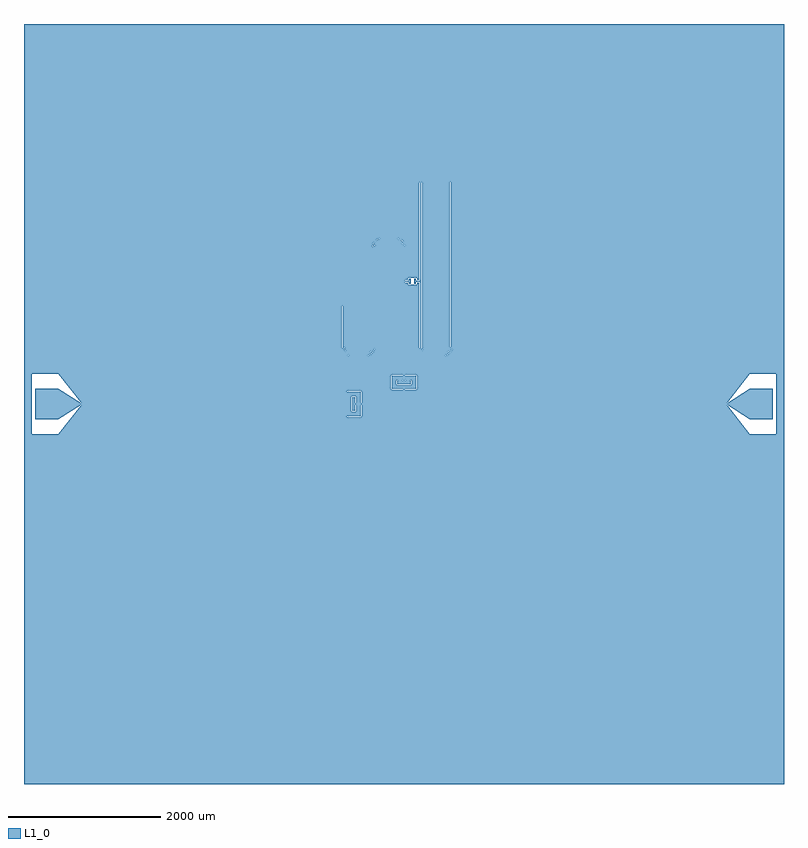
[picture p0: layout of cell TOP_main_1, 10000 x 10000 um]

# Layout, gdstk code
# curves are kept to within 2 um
import gdstk
lib = gdstk.Library(unit=1e-6, precision=1e-09)
def R(c, l, rs):  # rectangles x0, y0, x1, y1
    for r in rs: c.add(gdstk.rectangle(r[:2], r[2:], *l))
def P(c, l, *ps):  # polygons
    for p in ps: c.add(gdstk.Polygon(p, *l))
L1_0 = (1, 0)

ground_main_1 = lib.new_cell('ground_main_1')
P(ground_main_1, L1_0, [(-4550,400),(-4250,17),(-756.5,17),(-756.442,161.176),(-752.113,169.276),(-744.5,172),(-567.5,172),(-559.887,169.276),(-555.5,160),(-555.5,17),(-17,17),(-17,186),(-161.176,186.058),(-169.276,190.387),(-172,198),(-172,375),(-169.276,382.613),(-160,387),(-17,387),(-17,633.992),(-5000,633.992),(-5000,-5000),(5000,-5000),(5000,633.992),(17,633.992),(17,387),(161.176,386.942),(169.276,382.613),(172,375),(171.087,193.408),(166.667,188.022),(160,186),(17,186),(17,17),(4250,17),(4550,400),(4900,400),(4900,-400),(4550,-400),(4250,-17),(-555.5,-17),(-555.558,-161.176),(-559.887,-169.276),(-567.5,-172),(-744.5,-172),(-752.113,-169.276),(-756.5,-160),(-756.5,-17),(-4250,-17),(-4550,-400),(-4900,-400),(-4900,400)],
  [(-719.146,634.428),(-759,648.541),(-776.336,660.793),(-792.051,677.143),(-5000,677.143),(-5000,633.992)],
  [(-496.424,667.04),(-478.607,669.576),(-459.496,677.143),(-740.504,677.143),(-721.393,669.576),(-703.576,667.04)],
  [(-17,677.143),(-407.949,677.143),(-423.664,660.793),(-441,648.541),(-463.154,638.677),(-483.859,633.992),(-17,633.992)],
  [(300.854,634.428),(261,648.541),(243.664,660.793),(227.949,677.143),(17,677.143),(17,633.992)],
  [(523.576,667.04),(541.393,669.576),(560.504,677.143),(279.496,677.143),(298.607,669.576),(316.424,667.04)],
  [(5000,677.143),(612.051,677.143),(596.336,660.793),(579,648.541),(556.846,638.677),(536.141,633.992),(5000,633.992)],
  [(-793.029,678.384),(-808.17,704.609),(-815.572,730.854),(-5000,730.854),(-5000,677.143)],
  [(-457.259,678.419),(-432.661,700.802),(-419.037,730.854),(-780.963,730.854),(-765.793,698.742),(-740.504,677.143)],
  [(-17,730.854),(-384.428,730.854),(-393.029,701.819),(-407.949,677.143),(-17,677.143)],
  [(226.971,678.384),(211.83,704.609),(204.428,730.854),(17,730.854),(17,677.143)],
  [(562.741,678.419),(587.339,700.802),(600.963,730.854),(239.037,730.854),(254.207,698.742),(279.496,677.143)],
  [(5000,730.854),(635.572,730.854),(626.971,701.819),(612.051,677.143),(5000,677.143)],
  [(-418.975,731.112),(-417,2066),(-413.047,2096.023),(-5000,2096.023),(-5000,730.854),(-815.572,730.854),(-817,1290.921),(-783,1290.921),(-780.963,730.854)],
  [(-17,2066),(-22.697,2096.023),(-377.303,2096.023),(-379.744,2088.877),(-383,2066),(-384.428,730.854),(-17,730.854)],
  [(46.5,1661.5),(171.89,1663.462),(173.5,1632),(203,1632),(203,2096.023),(13.047,2096.023),(17,2066),(17,1632),(46.5,1632)],
  [(601.025,731.112),(603,2096.023),(237,2096.023),(237,749),(239.037,730.854)],
  [(5000,2096.023),(637,2096.023),(637,749),(636.96,745.963),(636.841,742.929),(636.642,739.899),(636.365,736.875),(636.008,733.859),(635.572,730.854),(5000,730.854)],
  [(203.992,733.859),(203,1598),(173.5,1598),(171.5,1566.5),(48.11,1566.538),(46.5,1598),(17,1598),(17,730.854),(204.428,730.854)],
  [(5000,5000),(-5000,5000),(-5000,2096.023),(-413.047,2096.023),(-396.599,2131.703),(-371.616,2158.029),(-336.846,2176.323),(-301,2182),(-80.854,2180.572),(-49.061,2170.7),(-21.381,2152.205),(-0.094,2126.61),(13.047,2096.023),(203,2096.023),(203,2921),(237,2921),(237,2096.023),(603,2096.023),(603,2922.564),(637,2922.564),(637,2096.023),(5000,2096.023)],
  [(-22.758,2096.186),(-32.661,2114.198),(-46.731,2129.182),(-64.086,2140.196),(-83.635,2146.548),(-301,2148),(-326.339,2143.987),(-347.091,2133.821),(-365.793,2116.258),(-377.303,2096.023)])

top_main_1 = lib.new_cell('TOP_main_1')
R(top_main_1, L1_0, [(-4220,-8,-792.5,8), (-792.5,-8,-744.499,8), (-639.501,-8,-527.5,8), (-527.5,-8,-150,8), (150,-8,4220,8), (-8,100,8,150), (-8,150,8,198.001), (-8,302.999,8,415), (-8,415,8,1465), (32.5,1607,52.5,1623), (52.5,1607,62.501,1623), (157.499,1607,167.5,1623), (167.5,1607,187.5,1623), (212,1765,228,2915)])
P(top_main_1, L1_0, [(-4250,8),(-4550,200),(-4850,200),(-4850,-200),(-4550,-200),(-4250,-8),(-4220,-8),(-4220,8),(-4250,8)],
  [(4250,-8),(4550,-200),(4850,-200),(4850,200),(4550,200),(4250,8),(4220,8),(4220,-8),(4250,-8)],
  [(-672.5,-91),(-678.157,-88.657),(-680.5,-83),(-680.461,83.784),(-674.061,90.846),(-646.716,90.961),(-641.843,88.657),(-639.5,83),(-639.539,-83.784),(-645.939,-90.846)],
  [(-575.402,-159.995),(-569.989,-157.789),(-567.505,-152.098),(-567.5,-25.098),(-570.279,-18.948),(-624.102,-18.465),(-627.471,-24.412),(-628.848,-99.445),(-634.716,-102.961),(-684.5,-103),(-690.157,-100.657),(-692.461,-95.784),(-692.5,-17),(-744.5,-17),(-744.5,-151.902),(-741.721,-158.052)],
  [(-692.5,95),(-690.157,100.657),(-685.284,102.961),(-631.055,101.652),(-627.539,95.784),(-625.801,20.083),(-620.088,17.029),(-575.598,17),(-568.747,20.724),(-567.5,151.902),(-570.279,158.052),(-738.251,159.799),(-744.495,152.098),(-744.5,-17),(-692.5,-17)],
  [(150,-8),(-150,-8),(-150,8),(-8,8),(-8,100),(8,100),(8,8),(150,8),(150,-8)],
  [(91,270),(88.657,264.343),(83,262),(-83.784,262.039),(-90.846,268.439),(-90.961,295.784),(-88.657,300.657),(-83,303),(83.784,302.961),(90.846,296.561)],
  [(17,250),(-95,250),(-102.656,255.678),(-103,307),(-100.075,313.184),(-24.412,315.029),(-18.465,318.398),(-17.005,367.098),(-20.398,373.535),(-151.902,375),(-158.535,371.602),(-160,206.098),(-156.602,199.465),(17,198)],
  [(152.098,198.005),(157.511,200.211),(159.995,205.902),(158.301,371.917),(151.902,375),(20.083,373.301),(17.005,367.098),(18.465,318.398),(24.412,315.029),(99.445,313.652),(102.961,307.784),(103,258),(100.657,252.343),(95.784,250.039),(17,250),(17,198)],
  [(-8,1465),(-8,1765),(8,1765),(8,1623),(32.5,1623),(32.5,1607),(8,1607),(8,1465),(-8,1465)],
  [(187.5,1623),(212,1623),(212,1765),(228,1765),(228,1465),(212,1465),(212,1607),(187.5,1607),(187.5,1623)],
  [(64.5,1582.5),(62.5,1584.5),(62.586,1646.081),(86.081,1647.414),(87.414,1583.919)],
  [(134.5,1582.5),(132.5,1584.5),(132.586,1646.081),(156.081,1647.414),(157.414,1583.919)],
  [(-496.052,642.041),(-467.059,646.879),(-440.477,659.423),(-420.278,676.531),(-403.529,700.686),(-421.89,700.686),(-439.593,680.066),(-462.316,665.722),(-480.256,659.951),(-499,658),(-714.436,658.997),(-735.2,664.671),(-751.837,673.524),(-766.293,685.614),(-778.11,700.686),(-796.471,700.686),(-783.595,680.978),(-766.721,664.562),(-743.981,651.012),(-721.513,643.985),(-701,642)],
  [(-402.234,703.335),(-394.59,725.601),(-392,749),(-391.96,2068.697),(-388.032,2092.577),(-378.11,2114.314),(-396.471,2114.314),(-404.726,2092.267),(-407.959,2068.948),(-408,749),(-411.218,725.014),(-421.89,700.686),(-403.529,700.686)],
  [(8,2066),(4.726,2092.267),(-3.529,2114.314),(-21.89,2114.314),(-11.968,2092.577),(-8.04,2068.697),(-8,1765),(8,1765)],
  [(-779.355,702.724),(-788.782,725.014),(-791.96,746.303),(-792,1290.921),(-808,1290.921),(-807.838,743.106),(-803.963,719.885),(-796.471,700.686),(-778.11,700.686)],
  [(-4.896,2116.926),(-18.311,2136.272),(-35.631,2152.217),(-56.019,2163.988),(-78.487,2171.015),(-99,2173),(-301,2173),(-330.115,2168.963),(-357.033,2157.155),(-379.722,2138.469),(-396.471,2114.314),(-378.11,2114.314),(-360.407,2134.934),(-337.684,2149.278),(-319.744,2155.049),(-301,2157),(-85.564,2156.003),(-64.8,2150.329),(-48.163,2141.476),(-33.707,2129.386),(-21.89,2114.314),(-3.529,2114.314)],
  [(523.948,642.041),(547.267,645.274),(569.314,653.529),(586.721,664.562),(603.595,680.978),(581.433,680.978),(567.276,670.645),(552.686,663.695),(521,658),(310.92,658.359),(282.316,665.722),(258.567,680.978),(236.405,680.978),(250.978,666.405),(265.5,656.335),(284.257,647.798),(304.303,643.014)],
  [(605.438,683.279),(622.202,714.257),(628,749),(628,2922.564),(612,2922.564),(611.96,746.303),(609.454,727.625),(603.155,709.864),(593.332,693.781),(581.433,680.978),(603.595,680.978)],
  [(257.577,681.857),(246.668,693.781),(236.845,709.864),(230.546,727.625),(228.16,743.609),(228,1465),(212,1465),(212.162,743.106),(218.793,711.482),(232.783,685.631),(236.405,680.978)])
top_main_1.add(gdstk.Reference(ground_main_1, (0,0)))

lib.write_gds('TOP_main_1.gds')
